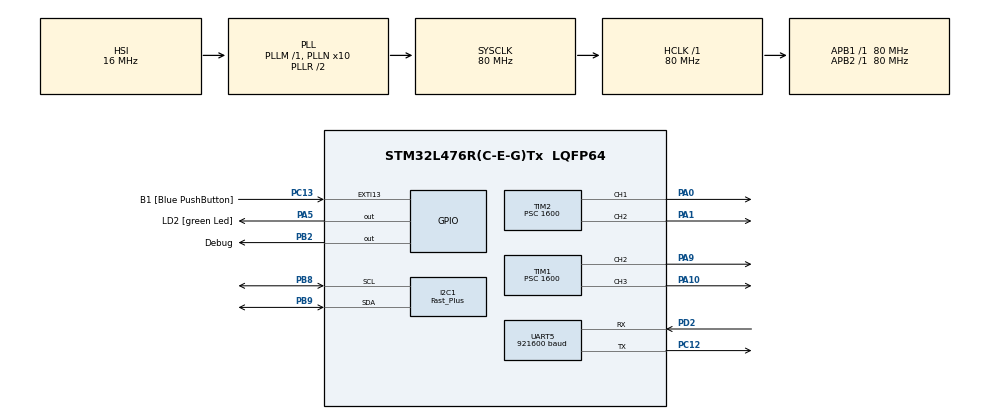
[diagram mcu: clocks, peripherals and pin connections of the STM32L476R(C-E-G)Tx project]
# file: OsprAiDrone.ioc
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I2C1.I2C_Fall_Time=0
I2C1.I2C_Rise_Time=0
I2C1.I2C_Speed_Mode=I2C_Fast_Plus
I2C1.Timing=0x00300F33
Mcu.Family=STM32L4
Mcu.Name=STM32L476R(C-E-G)Tx
Mcu.Package=LQFP64
NVIC.I2C1_ER_IRQn=true\:0\:0\:false\:false\:true\:true\:true\:true
NVIC.I2C1_EV_IRQn=true\:0\:0\:false\:false\:true\:true\:true\:true
NVIC.PriorityGroup=NVIC_PRIORITYGROUP_2
NVIC.TIM8_UP_IRQn=true\:0\:0\:false\:false\:true\:true\:true\:true
NVIC.UART5_IRQn=true\:0\:0\:false\:false\:true\:true\:true\:true
PA0.Signal=S_TIM2_CH1
PA1.Signal=S_TIM2_CH2
PA10.Signal=S_TIM1_CH3
PA13\ (JTMS-SWDIO).GPIO_Label=TMS
PA13\ (JTMS-SWDIO).Mode=Serial_Wire
PA13\ (JTMS-SWDIO).Signal=SYS_JTMS-SWDIO
PA14\ (JTCK-SWCLK).GPIO_Label=TCK
PA14\ (JTCK-SWCLK).Mode=Serial_Wire
PA14\ (JTCK-SWCLK).Signal=SYS_JTCK-SWCLK
PA5.GPIO_Label=LD2 [green Led]
PA5.GPIO_ModeDefaultOutputPP=GPIO_MODE_OUTPUT_PP
PA5.GPIO_PuPd=GPIO_NOPULL
PA5.GPIO_Speed=GPIO_SPEED_FREQ_LOW
PA5.Signal=GPIO_Output
PA9.Signal=S_TIM1_CH2
PB2.GPIO_Label=Debug
PB2.GPIO_Speed=GPIO_SPEED_FREQ_LOW
PB2.Signal=GPIO_Output
PB3\ (JTDO-TRACESWO).GPIO_Label=SWO
PB3\ (JTDO-TRACESWO).Signal=SYS_JTDO-SWO
PB8.GPIO_Pu=GPIO_PULLUP
PB8.Mode=I2C
PB8.Signal=I2C1_SCL
PB9.GPIO_Pu=GPIO_PULLUP
PB9.Mode=I2C
PB9.Signal=I2C1_SDA
PC0.Signal=LPUART1_RX
PC1.Signal=LPUART1_TX
PC12.Mode=Asynchronous
PC12.Signal=UART5_TX
PC13.GPIO_Label=B1 [Blue PushButton]
PC13.GPIO_ModeDefaultEXTI=GPIO_MODE_IT_FALLING
PC13.GPIO_PuPd=GPIO_NOPULL
PC13.Signal=GPXTI13
PC14-OSC32_IN\ (PC14).Mode=LSE-External-Oscillator
PC14-OSC32_IN\ (PC14).Signal=RCC_OSC32_IN
PC15-OSC32_OUT\ (PC15).Mode=LSE-External-Oscillator
PC15-OSC32_OUT\ (PC15).Signal=RCC_OSC32_OUT
PD2.Mode=Asynchronous
PD2.Signal=UART5_RX
PH0-OSC_IN\ (PH0).Mode=HSE-External-Oscillator
PH0-OSC_IN\ (PH0).Signal=RCC_OSC_IN
PH1-OSC_OUT\ (PH1).Mode=HSE-External-Oscillator
PH1-OSC_OUT\ (PH1).Signal=RCC_OSC_OUT
ProjectManager.HeapSize=0x200
ProjectManager.StackSize=0x400
ProjectManager.TargetToolchain=STM32CubeIDE
RCC.ADCFreq_Value=64000000
RCC.AHBFreq_Value=80000000
RCC.APB1Freq_Value=80000000
RCC.APB1TimFreq_Value=80000000
RCC.APB2Freq_Value=80000000
RCC.APB2TimFreq_Value=80000000
RCC.CortexFreq_Value=80000000
RCC.HCLKFreq_Value=80000000
RCC.HSE_VALUE=8000000
RCC.HSI_VALUE=16000000
RCC.MSI_VALUE=4000000
RCC.PLLN=10
RCC.PLLSourceVirtual=RCC_PLLSOURCE_HSI
RCC.PREFETCH_ENABLE=1
RCC.SYSCLKFreq_VALUE=80000000
RCC.SYSCLKSource=RCC_SYSCLKSOURCE_PLLCLK
RCC.USBFreq_Value=64000000
RCC.VCOOutputFreq_Value=160000000
SH.S_TIM1_CH2.0=TIM1_CH2,PWM Generation2 CH2
SH.S_TIM1_CH3.0=TIM1_CH3,PWM Generation3 CH3
SH.S_TIM2_CH1.0=TIM2_CH1,PWM Generation1 CH1
SH.S_TIM2_CH2.0=TIM2_CH2,PWM Generation2 CH2
TIM1.Channel-PWM\ Generation2\ CH2=TIM_CHANNEL_2
TIM1.Channel-PWM\ Generation3\ CH3=TIM_CHANNEL_3
TIM1.Period=1000
TIM1.Prescaler=1600
TIM2.Channel-PWM\ Generation1\ CH1=TIM_CHANNEL_1
TIM2.Channel-PWM\ Generation2\ CH2=TIM_CHANNEL_2
TIM2.Period=1000
TIM2.Prescaler=1600
TIM7.Period=100
TIM7.Prescaler=80
TIM8.Period=1000
TIM8.Prescaler=800
UART5.BaudRate=921600
UART5.DMADisableonRxErrorParam=UART_ADVFEATURE_DMA_DISABLEONRXERROR
UART5.OverrunDisableParam=UART_ADVFEATURE_OVERRUN_DISABLE
VP_TIM1_VS_ClockSourceINT.Mode=Internal
VP_TIM2_VS_ClockSourceINT.Mode=Internal
VP_TIM7_VS_ClockSourceINT.Mode=Enable_Timer
VP_TIM7_VS_OPM.Mode=OPM_bit
VP_TIM8_VS_ClockSourceINT.Mode=Internal
board=NUCLEO-L476RG

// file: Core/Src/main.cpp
/* USER CODE BEGIN Header */
/**
  ******************************************************************************
  * @file           : main.c
  * @brief          : Main program body
  ******************************************************************************
  * @attention
  *
  * Copyright (c) 2025 STMicroelectronics.
  * All rights reserved.
  *
  * This software is licensed under terms that can be found in the LICENSE file
  * in the root directory of this software component.
  * If no LICENSE file comes with this software, it is provided AS-IS.
  *
  ******************************************************************************
  */
/* USER CODE END Header */
#include "main.h"

/* USER CODE BEGIN Includes */
//#include "utils.h"
#include "Sensors/GpsManager.h"
#include "Sensors/ImuManager.h"
#include "Sensors/BarometerManager.h"
#include "FlightController.h"
#include "FrameParser.h"
#include "EventManagement.h"
#include "ActuatorController.h"
#include "utils.h"
using namespace OsprAi;
/* USER CODE END Includes */

I2C_HandleTypeDef hi2c1;

TIM_HandleTypeDef htim1;
TIM_HandleTypeDef htim2;
TIM_HandleTypeDef htim7;
TIM_HandleTypeDef htim8;

UART_HandleTypeDef huart5;

/* USER CODE BEGIN PV */
ServosController servos(StaticVector<TIM_HandleTypeDef *, 10> {&htim2},
										StaticVector<StaticVector<uint32_t, 4>, 10> {
											StaticVector<uint32_t, 4> {TIM_CHANNEL_1, TIM_CHANNEL_2}
										});
ImuManager imu(100, StaticVector<uint8_t, 10> {MPU1_SLAVE_ADDR, MPU2_SLAVE_ADDR}, 3);
BarometerManager barom(100, {BARO1_SLAVE_ADDR}, 1);
FlightController fc(50);
FrameParser *parser;

/* USER CODE END PV */

void SystemClock_Config(void);
static void MX_GPIO_Init(void);
static void MX_TIM2_Init(void);
static void MX_TIM8_Init(void);
static void MX_I2C1_Init(void);
static void MX_TIM1_Init(void);
static void MX_UART5_Init(void);
static void MX_TIM7_Init(void);

int main(void)
{

  /* MCU Configuration--------------------------------------------------------*/

  /* Reset of all peripherals, Initializes the Flash interface and the Systick. */
  HAL_Init();

  /* Configure the system clock */
  SystemClock_Config();

  /* Initialize all configured peripherals */
  MX_GPIO_Init();
  MX_TIM2_Init();
  MX_TIM8_Init();
  MX_I2C1_Init();
  MX_TIM1_Init();
  MX_UART5_Init();
  MX_TIM7_Init();
  /* USER CODE BEGIN 2 */
  parser= new FrameParser(StaticVector<uint8_t, 10>{0xAB, 0xCD}, StaticVector<StaticVector<uint8_t, 10>, 10> {StaticVector<uint8_t, 10>{0x00, 0x0A}, StaticVector<uint8_t, 10>{0x00, 0x0B},
	  	  	  	  	  	  	  	  	  	  	  	  	  	  	  	  	  	  	  	  	  	  	  	  	  	  	  StaticVector<uint8_t, 10>{0x00, 0x0C}, StaticVector<uint8_t, 10>{0x00, 0x0D},
																											  StaticVector<uint8_t, 10>{0x00, 0x0E}},
																	StaticVector<StaticVector<char, 10>, 10> {StaticVector<char, 10>{'a','r','m','i', 'n', 'g'}, StaticVector<char, 10>{'s','t','i','c','k','s'},
																												  StaticVector<char, 10>{'t','L','i','n','S','p','e','e','d'}, StaticVector<char, 10>{'t','T','h','e','t','a'},
																												  StaticVector<char, 10>{'t','S','e','r','v','o','s'}});
  //imu.SetFirstInSchedule();
  servos.InitController();
  fc.AttachMotorSetpointObserver(servos.GetSetpointObserver());
  imu.SetI2CInterface(&hi2c1);
  barom.SetI2CInterface(&hi2c1);
  fc.SetBus(&huart5);
  fc.SetParser(parser);
  imu.SensorConfiguration();
  barom.SensorConfiguration();
  imu.SetNextModule(&barom);
  barom.SetNextModule(&fc);
  barom.SetNextModule(&servos);
  imu.AttachDataObserver(fc.GetDataObserver(1));
  barom.AttachDataObserver(fc.GetDataObserver(2));
  HAL_TIM_Base_Start_IT(&htim8);
  ///fc.ExecSecondTask();
  /* USER CODE END 2 */

  /* Infinite loop */
  while (1)
  {

  }
}

void SystemClock_Config(void)
{
  RCC_OscInitTypeDef RCC_OscInitStruct = {0};
  RCC_ClkInitTypeDef RCC_ClkInitStruct = {0};

  /** Configure the main internal regulator output voltage
  */
  if (HAL_PWREx_ControlVoltageScaling(PWR_REGULATOR_VOLTAGE_SCALE1) != HAL_OK)
  {
    Error_Handler();
  }

  /** Initializes the RCC Oscillators according to the specified parameters
  * in the RCC_OscInitTypeDef structure.
  */
  RCC_OscInitStruct.OscillatorType = RCC_OSCILLATORTYPE_HSI;
  RCC_OscInitStruct.HSIState = RCC_HSI_ON;
  RCC_OscInitStruct.HSICalibrationValue = RCC_HSICALIBRATION_DEFAULT;
  RCC_OscInitStruct.PLL.PLLState = RCC_PLL_ON;
  RCC_OscInitStruct.PLL.PLLSource = RCC_PLLSOURCE_HSI;
  RCC_OscInitStruct.PLL.PLLM = 1;
  RCC_OscInitStruct.PLL.PLLN = 10;
  RCC_OscInitStruct.PLL.PLLP = RCC_PLLP_DIV7;
  RCC_OscInitStruct.PLL.PLLQ = RCC_PLLQ_DIV2;
  RCC_OscInitStruct.PLL.PLLR = RCC_PLLR_DIV2;
  if (HAL_RCC_OscConfig(&RCC_OscInitStruct) != HAL_OK)
  {
    Error_Handler();
  }

  /** Initializes the CPU, AHB and APB buses clocks
  */
  RCC_ClkInitStruct.ClockType = RCC_CLOCKTYPE_HCLK|RCC_CLOCKTYPE_SYSCLK
                              |RCC_CLOCKTYPE_PCLK1|RCC_CLOCKTYPE_PCLK2;
  RCC_ClkInitStruct.SYSCLKSource = RCC_SYSCLKSOURCE_PLLCLK;
  RCC_ClkInitStruct.AHBCLKDivider = RCC_SYSCLK_DIV1;
  RCC_ClkInitStruct.APB1CLKDivider = RCC_HCLK_DIV1;
  RCC_ClkInitStruct.APB2CLKDivider = RCC_HCLK_DIV1;

  if (HAL_RCC_ClockConfig(&RCC_ClkInitStruct, FLASH_LATENCY_4) != HAL_OK)
  {
    Error_Handler();
  }
}

static void MX_I2C1_Init(void)
{

  hi2c1.Instance = I2C1;
  hi2c1.Init.Timing = 0x00300F33;
  hi2c1.Init.OwnAddress1 = 0;
  hi2c1.Init.AddressingMode = I2C_ADDRESSINGMODE_7BIT;
  hi2c1.Init.DualAddressMode = I2C_DUALADDRESS_DISABLE;
  hi2c1.Init.OwnAddress2 = 0;
  hi2c1.Init.OwnAddress2Masks = I2C_OA2_NOMASK;
  hi2c1.Init.GeneralCallMode = I2C_GENERALCALL_DISABLE;
  hi2c1.Init.NoStretchMode = I2C_NOSTRETCH_DISABLE;
  if (HAL_I2C_Init(&hi2c1) != HAL_OK)
  {
    Error_Handler();
  }

  /** Configure Analogue filter
  */
  if (HAL_I2CEx_ConfigAnalogFilter(&hi2c1, I2C_ANALOGFILTER_ENABLE) != HAL_OK)
  {
    Error_Handler();
  }

  /** Configure Digital filter
  */
  if (HAL_I2CEx_ConfigDigitalFilter(&hi2c1, 0) != HAL_OK)
  {
    Error_Handler();
  }

  /** I2C Fast mode Plus enable
  */
  HAL_I2CEx_EnableFastModePlus(I2C_FASTMODEPLUS_I2C1);

}

static void MX_TIM1_Init(void)
{

  TIM_ClockConfigTypeDef sClockSourceConfig = {0};
  TIM_MasterConfigTypeDef sMasterConfig = {0};
  TIM_OC_InitTypeDef sConfigOC = {0};
  TIM_BreakDeadTimeConfigTypeDef sBreakDeadTimeConfig = {0};

  htim1.Instance = TIM1;
  htim1.Init.Prescaler = 1600;
  htim1.Init.CounterMode = TIM_COUNTERMODE_UP;
  htim1.Init.Period = 1000;
  htim1.Init.ClockDivision = TIM_CLOCKDIVISION_DIV1;
  htim1.Init.RepetitionCounter = 0;
  htim1.Init.AutoReloadPreload = TIM_AUTORELOAD_PRELOAD_DISABLE;
  if (HAL_TIM_Base_Init(&htim1) != HAL_OK)
  {
    Error_Handler();
  }
  sClockSourceConfig.ClockSource = TIM_CLOCKSOURCE_INTERNAL;
  if (HAL_TIM_ConfigClockSource(&htim1, &sClockSourceConfig) != HAL_OK)
  {
    Error_Handler();
  }
  if (HAL_TIM_PWM_Init(&htim1) != HAL_OK)
  {
    Error_Handler();
  }
  sMasterConfig.MasterOutputTrigger = TIM_TRGO_RESET;
  sMasterConfig.MasterOutputTrigger2 = TIM_TRGO2_RESET;
  sMasterConfig.MasterSlaveMode = TIM_MASTERSLAVEMODE_DISABLE;
  if (HAL_TIMEx_MasterConfigSynchronization(&htim1, &sMasterConfig) != HAL_OK)
  {
    Error_Handler();
  }
  sConfigOC.OCMode = TIM_OCMODE_PWM1;
  sConfigOC.Pulse = 0;
  sConfigOC.OCPolarity = TIM_OCPOLARITY_HIGH;
  sConfigOC.OCNPolarity = TIM_OCNPOLARITY_HIGH;
  sConfigOC.OCFastMode = TIM_OCFAST_DISABLE;
  sConfigOC.OCIdleState = TIM_OCIDLESTATE_RESET;
  sConfigOC.OCNIdleState = TIM_OCNIDLESTATE_RESET;
  if (HAL_TIM_PWM_ConfigChannel(&htim1, &sConfigOC, TIM_CHANNEL_2) != HAL_OK)
  {
    Error_Handler();
  }
  if (HAL_TIM_PWM_ConfigChannel(&htim1, &sConfigOC, TIM_CHANNEL_3) != HAL_OK)
  {
    Error_Handler();
  }
  sBreakDeadTimeConfig.OffStateRunMode = TIM_OSSR_DISABLE;
  sBreakDeadTimeConfig.OffStateIDLEMode = TIM_OSSI_DISABLE;
  sBreakDeadTimeConfig.LockLevel = TIM_LOCKLEVEL_OFF;
  sBreakDeadTimeConfig.DeadTime = 0;
  sBreakDeadTimeConfig.BreakState = TIM_BREAK_DISABLE;
  sBreakDeadTimeConfig.BreakPolarity = TIM_BREAKPOLARITY_HIGH;
  sBreakDeadTimeConfig.BreakFilter = 0;
  sBreakDeadTimeConfig.Break2State = TIM_BREAK2_DISABLE;
  sBreakDeadTimeConfig.Break2Polarity = TIM_BREAK2POLARITY_HIGH;
  sBreakDeadTimeConfig.Break2Filter = 0;
  sBreakDeadTimeConfig.AutomaticOutput = TIM_AUTOMATICOUTPUT_DISABLE;
  if (HAL_TIMEx_ConfigBreakDeadTime(&htim1, &sBreakDeadTimeConfig) != HAL_OK)
  {
    Error_Handler();
  }
  HAL_TIM_MspPostInit(&htim1);

}

static void MX_TIM2_Init(void)
{

  TIM_ClockConfigTypeDef sClockSourceConfig = {0};
  TIM_MasterConfigTypeDef sMasterConfig = {0};
  TIM_OC_InitTypeDef sConfigOC = {0};

  htim2.Instance = TIM2;
  htim2.Init.Prescaler = 1600;
  htim2.Init.CounterMode = TIM_COUNTERMODE_UP;
  htim2.Init.Period = 1000;
  htim2.Init.ClockDivision = TIM_CLOCKDIVISION_DIV1;
  htim2.Init.AutoReloadPreload = TIM_AUTORELOAD_PRELOAD_DISABLE;
  if (HAL_TIM_Base_Init(&htim2) != HAL_OK)
  {
    Error_Handler();
  }
  sClockSourceConfig.ClockSource = TIM_CLOCKSOURCE_INTERNAL;
  if (HAL_TIM_ConfigClockSource(&htim2, &sClockSourceConfig) != HAL_OK)
  {
    Error_Handler();
  }
  if (HAL_TIM_PWM_Init(&htim2) != HAL_OK)
  {
    Error_Handler();
  }
  sMasterConfig.MasterOutputTrigger = TIM_TRGO_RESET;
  sMasterConfig.MasterSlaveMode = TIM_MASTERSLAVEMODE_DISABLE;
  if (HAL_TIMEx_MasterConfigSynchronization(&htim2, &sMasterConfig) != HAL_OK)
  {
    Error_Handler();
  }
  sConfigOC.OCMode = TIM_OCMODE_PWM1;
  sConfigOC.Pulse = 0;
  sConfigOC.OCPolarity = TIM_OCPOLARITY_HIGH;
  sConfigOC.OCFastMode = TIM_OCFAST_DISABLE;
  if (HAL_TIM_PWM_ConfigChannel(&htim2, &sConfigOC, TIM_CHANNEL_1) != HAL_OK)
  {
    Error_Handler();
  }
  if (HAL_TIM_PWM_ConfigChannel(&htim2, &sConfigOC, TIM_CHANNEL_2) != HAL_OK)
  {
    Error_Handler();
  }
  HAL_TIM_MspPostInit(&htim2);

}

static void MX_TIM7_Init(void)
{

  TIM_MasterConfigTypeDef sMasterConfig = {0};

  htim7.Instance = TIM7;
  htim7.Init.Prescaler = 80;
  htim7.Init.CounterMode = TIM_COUNTERMODE_UP;
  htim7.Init.Period = 100;
  htim7.Init.AutoReloadPreload = TIM_AUTORELOAD_PRELOAD_DISABLE;
  if (HAL_TIM_Base_Init(&htim7) != HAL_OK)
  {
    Error_Handler();
  }
  if (HAL_TIM_OnePulse_Init(&htim7, TIM_OPMODE_SINGLE) != HAL_OK)
  {
    Error_Handler();
  }
  sMasterConfig.MasterOutputTrigger = TIM_TRGO_RESET;
  sMasterConfig.MasterSlaveMode = TIM_MASTERSLAVEMODE_DISABLE;
  if (HAL_TIMEx_MasterConfigSynchronization(&htim7, &sMasterConfig) != HAL_OK)
  {
    Error_Handler();
  }

}

static void MX_TIM8_Init(void)
{

  TIM_ClockConfigTypeDef sClockSourceConfig = {0};
  TIM_MasterConfigTypeDef sMasterConfig = {0};

  htim8.Instance = TIM8;
  htim8.Init.Prescaler = 800;
  htim8.Init.CounterMode = TIM_COUNTERMODE_UP;
  htim8.Init.Period = 1000;
  htim8.Init.ClockDivision = TIM_CLOCKDIVISION_DIV1;
  htim8.Init.RepetitionCounter = 0;
  htim8.Init.AutoReloadPreload = TIM_AUTORELOAD_PRELOAD_DISABLE;
  if (HAL_TIM_Base_Init(&htim8) != HAL_OK)
  {
    Error_Handler();
  }
  sClockSourceConfig.ClockSource = TIM_CLOCKSOURCE_INTERNAL;
  if (HAL_TIM_ConfigClockSource(&htim8, &sClockSourceConfig) != HAL_OK)
  {
    Error_Handler();
  }
  sMasterConfig.MasterOutputTrigger = TIM_TRGO_RESET;
  sMasterConfig.MasterOutputTrigger2 = TIM_TRGO2_RESET;
  sMasterConfig.MasterSlaveMode = TIM_MASTERSLAVEMODE_DISABLE;
  if (HAL_TIMEx_MasterConfigSynchronization(&htim8, &sMasterConfig) != HAL_OK)
  {
    Error_Handler();
  }

}

static void MX_UART5_Init(void)
{

  huart5.Instance = UART5;
  huart5.Init.BaudRate = 921600;
  huart5.Init.WordLength = UART_WORDLENGTH_8B;
  huart5.Init.StopBits = UART_STOPBITS_1;
  huart5.Init.Parity = UART_PARITY_NONE;
  huart5.Init.Mode = UART_MODE_TX_RX;
  huart5.Init.HwFlowCtl = UART_HWCONTROL_NONE;
  huart5.Init.OverSampling = UART_OVERSAMPLING_16;
  huart5.Init.OneBitSampling = UART_ONE_BIT_SAMPLE_DISABLE;
  huart5.AdvancedInit.AdvFeatureInit = UART_ADVFEATURE_RXOVERRUNDISABLE_INIT|UART_ADVFEATURE_DMADISABLEONERROR_INIT;
  huart5.AdvancedInit.OverrunDisable = UART_ADVFEATURE_OVERRUN_DISABLE;
  huart5.AdvancedInit.DMADisableonRxError = UART_ADVFEATURE_DMA_DISABLEONRXERROR;
  if (HAL_UART_Init(&huart5) != HAL_OK)
  {
    Error_Handler();
  }

}

static void MX_GPIO_Init(void)
{
  GPIO_InitTypeDef GPIO_InitStruct = {0};

  /* GPIO Ports Clock Enable */
  __HAL_RCC_GPIOC_CLK_ENABLE();
  __HAL_RCC_GPIOH_CLK_ENABLE();
  __HAL_RCC_GPIOA_CLK_ENABLE();
  __HAL_RCC_GPIOB_CLK_ENABLE();
  __HAL_RCC_GPIOD_CLK_ENABLE();

  /*Configure GPIO pin Output Level */
  HAL_GPIO_WritePin(LD2_GPIO_Port, LD2_Pin, GPIO_PIN_RESET);

  /*Configure GPIO pin Output Level */
  HAL_GPIO_WritePin(Debug_GPIO_Port, Debug_Pin, GPIO_PIN_RESET);

  /*Configure GPIO pin : B1_Pin */
  GPIO_InitStruct.Pin = B1_Pin;
  GPIO_InitStruct.Mode = GPIO_MODE_IT_FALLING;
  GPIO_InitStruct.Pull = GPIO_NOPULL;
  HAL_GPIO_Init(B1_GPIO_Port, &GPIO_InitStruct);

  /*Configure GPIO pins : PC0 PC1 */
  GPIO_InitStruct.Pin = GPIO_PIN_0|GPIO_PIN_1;
  GPIO_InitStruct.Mode = GPIO_MODE_AF_PP;
  GPIO_InitStruct.Pull = GPIO_NOPULL;
  GPIO_InitStruct.Speed = GPIO_SPEED_FREQ_VERY_HIGH;
  GPIO_InitStruct.Alternate = GPIO_AF8_LPUART1;
  HAL_GPIO_Init(GPIOC, &GPIO_InitStruct);

  /*Configure GPIO pin : LD2_Pin */
  GPIO_InitStruct.Pin = LD2_Pin;
  GPIO_InitStruct.Mode = GPIO_MODE_OUTPUT_PP;
  GPIO_InitStruct.Pull = GPIO_NOPULL;
  GPIO_InitStruct.Speed = GPIO_SPEED_FREQ_LOW;
  HAL_GPIO_Init(LD2_GPIO_Port, &GPIO_InitStruct);

  /*Configure GPIO pin : Debug_Pin */
  GPIO_InitStruct.Pin = Debug_Pin;
  GPIO_InitStruct.Mode = GPIO_MODE_OUTPUT_PP;
  GPIO_InitStruct.Pull = GPIO_NOPULL;
  GPIO_InitStruct.Speed = GPIO_SPEED_FREQ_LOW;
  HAL_GPIO_Init(Debug_GPIO_Port, &GPIO_InitStruct);

}

/* USER CODE BEGIN 4 */
void HAL_TIM_PeriodElapsedCallback(TIM_HandleTypeDef *htim)
{
	if (htim == &htim8) {
		imu.ExecMainTask();
		/*test= !test;
		if (test) {
			fc.ExecMainTask();
		}
		else {
			fc.ExecSecondTask();
		}*/
	}
}

void HAL_UARTEx_RxEventCallback(UART_HandleTypeDef *huart, uint16_t Size)
{
	fc.ProcessReceivedData(Size);
  //HAL_UARTEx_ReceiveToIdle_IT(&huart2, RxData, 30);
}

void HAL_UART_TxCpltCallback(UART_HandleTypeDef *huart)
{
	fc.CallNextModule();

}

void HAL_I2C_MemRxCpltCallback (I2C_HandleTypeDef * hi2c)
{
	if (hi2c == &hi2c1) {
		if (hi2c->Devaddress == 0xEC) {
			if (hi2c->Instance->TXDR == 0xF7) {
				barom.ProcessMeasurement(hi2c->Devaddress, hi2c->Instance->TXDR);
			}

			barom.CallNextModule();
		}
		else {
			imu.ProcessMeasurement(hi2c->Devaddress, hi2c->Instance->TXDR);
		}
	}
}

void HAL_I2C_MemTxCpltCallback (I2C_HandleTypeDef * hi2c)
{
	if (hi2c == &hi2c1) {
		if (hi2c->Devaddress == 0xEC) {
			barom.CallNextModule();
		}
	}
}

void HAL_I2C_ErrorCallback(I2C_HandleTypeDef * hi2c) {

}
/* USER CODE END 4 */

void Error_Handler(void)
{
  __disable_irq();
  while (1)
  {
  }
}
